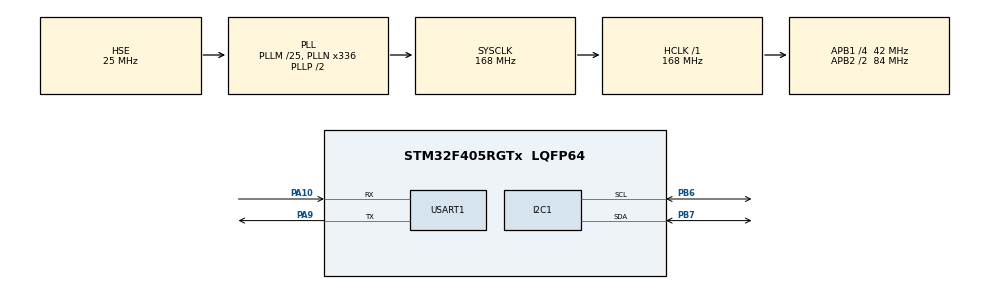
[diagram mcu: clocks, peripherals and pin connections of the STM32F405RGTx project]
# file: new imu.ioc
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FREERTOS.Tasks01=defaultTask,24,128,StartDefaultTask,Default,NULL,Dynamic,NULL,NULL;myTask01,8,128,StartTask01,Default,NULL,Dynamic,NULL,NULL
Mcu.Family=STM32F4
Mcu.Name=STM32F405RGTx
Mcu.Package=LQFP64
NVIC.PriorityGroup=NVIC_PRIORITYGROUP_4
NVIC.TIM7_IRQn=true\:15\:0\:false\:false\:true\:false\:false\:true\:true
NVIC.TimeBase=TIM7_IRQn
NVIC.TimeBaseIP=TIM7
PA10.Mode=Asynchronous
PA10.Signal=USART1_RX
PA13.Mode=Serial_Wire
PA13.Signal=SYS_JTMS-SWDIO
PA14.Mode=Serial_Wire
PA14.Signal=SYS_JTCK-SWCLK
PA9.Mode=Asynchronous
PA9.Signal=USART1_TX
PB6.Mode=I2C
PB6.Signal=I2C1_SCL
PB7.Mode=I2C
PB7.Signal=I2C1_SDA
PC14-OSC32_IN.Mode=LSE-External-Oscillator
PC14-OSC32_IN.Signal=RCC_OSC32_IN
PC15-OSC32_OUT.Mode=LSE-External-Oscillator
PC15-OSC32_OUT.Signal=RCC_OSC32_OUT
PH0-OSC_IN.Mode=HSE-External-Oscillator
PH0-OSC_IN.Signal=RCC_OSC_IN
PH1-OSC_OUT.Mode=HSE-External-Oscillator
PH1-OSC_OUT.Signal=RCC_OSC_OUT
ProjectManager.HeapSize=0x200
ProjectManager.StackSize=0x400
ProjectManager.TargetToolchain=MDK-ARM V5.32
RCC.48MHZClocksFreq_Value=84000000
RCC.AHBFreq_Value=168000000
RCC.APB1CLKDivider=RCC_HCLK_DIV4
RCC.APB1Freq_Value=42000000
RCC.APB1TimFreq_Value=84000000
RCC.APB2CLKDivider=RCC_HCLK_DIV2
RCC.APB2Freq_Value=84000000
RCC.APB2TimFreq_Value=168000000
RCC.CortexFreq_Value=168000000
RCC.HCLKFreq_Value=168000000
RCC.HSE_VALUE=25000000
RCC.HSI_VALUE=16000000
RCC.PLLM=25
RCC.PLLN=336
RCC.PLLSourceVirtual=RCC_PLLSOURCE_HSE
RCC.SYSCLKFreq_VALUE=168000000
RCC.SYSCLKSource=RCC_SYSCLKSOURCE_PLLCLK
RCC.VCOOutputFreq_Value=336000000
USART1.VirtualMode=VM_ASYNC
VP_FREERTOS_VS_CMSIS_V2.Mode=CMSIS_V2
VP_SYS_VS_tim7.Mode=TIM7
board=custom

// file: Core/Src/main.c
/* USER CODE BEGIN Header */
/**
  ******************************************************************************
  * @file           : main.c
  * @brief          : Main program body
  ******************************************************************************
  * @attention
  *
  * Copyright (c) 2024 STMicroelectronics.
  * All rights reserved.
  *
  * This software is licensed under terms that can be found in the LICENSE file
  * in the root directory of this software component.
  * If no LICENSE file comes with this software, it is provided AS-IS.
  *
  ******************************************************************************
  */
/* USER CODE END Header */
#include "main.h"
#include "cmsis_os.h"
#include "i2c.h"
#include "usart.h"
#include "gpio.h"

/* USER CODE BEGIN Includes */
#include "MPU6050.h"

/* USER CODE END Includes */

void SystemClock_Config(void);
void MX_FREERTOS_Init(void);

int main(void)
{

  /* MCU Configuration--------------------------------------------------------*/

  /* Reset of all peripherals, Initializes the Flash interface and the Systick. */
  HAL_Init();

  /* Configure the system clock */
  SystemClock_Config();

  /* Initialize all configured peripherals */
  MX_GPIO_Init();
  MX_I2C1_Init();
  MX_USART1_UART_Init();

  /* Init scheduler */
  osKernelInitialize();

  /* Call init function for freertos objects (in cmsis_os2.c) */
  MX_FREERTOS_Init();

  /* Start scheduler */
  osKernelStart();

  /* We should never get here as control is now taken by the scheduler */

  /* Infinite loop */
  while (1)
  {

  }
}

void SystemClock_Config(void)
{
  RCC_OscInitTypeDef RCC_OscInitStruct = {0};
  RCC_ClkInitTypeDef RCC_ClkInitStruct = {0};

  /** Configure the main internal regulator output voltage
  */
  __HAL_RCC_PWR_CLK_ENABLE();
  __HAL_PWR_VOLTAGESCALING_CONFIG(PWR_REGULATOR_VOLTAGE_SCALE1);

  /** Initializes the RCC Oscillators according to the specified parameters
  * in the RCC_OscInitTypeDef structure.
  */
  RCC_OscInitStruct.OscillatorType = RCC_OSCILLATORTYPE_HSE;
  RCC_OscInitStruct.HSEState = RCC_HSE_ON;
  RCC_OscInitStruct.PLL.PLLState = RCC_PLL_ON;
  RCC_OscInitStruct.PLL.PLLSource = RCC_PLLSOURCE_HSE;
  RCC_OscInitStruct.PLL.PLLM = 25;
  RCC_OscInitStruct.PLL.PLLN = 336;
  RCC_OscInitStruct.PLL.PLLP = RCC_PLLP_DIV2;
  RCC_OscInitStruct.PLL.PLLQ = 4;
  if (HAL_RCC_OscConfig(&RCC_OscInitStruct) != HAL_OK)
  {
    Error_Handler();
  }

  /** Initializes the CPU, AHB and APB buses clocks
  */
  RCC_ClkInitStruct.ClockType = RCC_CLOCKTYPE_HCLK|RCC_CLOCKTYPE_SYSCLK
                              |RCC_CLOCKTYPE_PCLK1|RCC_CLOCKTYPE_PCLK2;
  RCC_ClkInitStruct.SYSCLKSource = RCC_SYSCLKSOURCE_PLLCLK;
  RCC_ClkInitStruct.AHBCLKDivider = RCC_SYSCLK_DIV1;
  RCC_ClkInitStruct.APB1CLKDivider = RCC_HCLK_DIV4;
  RCC_ClkInitStruct.APB2CLKDivider = RCC_HCLK_DIV2;

  if (HAL_RCC_ClockConfig(&RCC_ClkInitStruct, FLASH_LATENCY_5) != HAL_OK)
  {
    Error_Handler();
  }
}

void HAL_TIM_PeriodElapsedCallback(TIM_HandleTypeDef *htim)
{
  if (htim->Instance == TIM7) {
    HAL_IncTick();
  }
}

void Error_Handler(void)
{
  __disable_irq();
  while (1)
  {
  }
}

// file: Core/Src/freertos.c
/* USER CODE BEGIN Header */
/**
  ******************************************************************************
  * File Name          : freertos.c
  * Description        : Code for freertos applications
  ******************************************************************************
  * @attention
  *
  * Copyright (c) 2024 STMicroelectronics.
  * All rights reserved.
  *
  * This software is licensed under terms that can be found in the LICENSE file
  * in the root directory of this software component.
  * If no LICENSE file comes with this software, it is provided AS-IS.
  *
  ******************************************************************************
  */
/* USER CODE END Header */

#include "FreeRTOS.h"
#include "task.h"
#include "main.h"
#include "cmsis_os.h"

/* USER CODE BEGIN Includes */
#include "usart.h"
#include <stdio.h>
#include "MPU6050.h"

/* USER CODE END Includes */

/* Definitions for defaultTask */
osThreadId_t defaultTaskHandle;
const osThreadAttr_t defaultTask_attributes = {
  .name = "defaultTask",
  .stack_size = 128 * 4,
  .priority = (osPriority_t) osPriorityNormal,
};
/* Definitions for myTask01 */
osThreadId_t myTask01Handle;
const osThreadAttr_t myTask01_attributes = {
  .name = "myTask01",
  .stack_size = 128 * 4,
  .priority = (osPriority_t) osPriorityLow,
};

void StartDefaultTask(void *argument);
void StartTask01(void *argument);

void MX_FREERTOS_Init(void); /* (MISRA C 2004 rule 8.1) */

void MX_FREERTOS_Init(void) {

  /* Create the thread(s) */
  /* creation of defaultTask */
  defaultTaskHandle = osThreadNew(StartDefaultTask, NULL, &defaultTask_attributes);

  /* creation of myTask01 */
  myTask01Handle = osThreadNew(StartTask01, NULL, &myTask01_attributes);

}

void StartDefaultTask(void *argument)
{
  /* USER CODE BEGIN StartDefaultTask */
  /* Infinite loop */
  for(;;)
  {
    vTaskDelete(NULL);
  }
  /* USER CODE END StartDefaultTask */
}

    float pitch;
    float roll;
    float yaw;
void StartTask01(void *argument)
{
  /* USER CODE BEGIN StartTask01 */
    int res=1;

    int16_t gx,gy,gz,ax,ay,az;
    while(res)
    {
        res = MPU6050_DMP_Init();
        printf(" ");
        printf("InitNG:");
        printf("%d",res);
        vTaskDelay(1000);
    }
    printf(" ");
    printf("InitOK\n");
  /* Infinite loop */
  for(;;)
  {
      if(MPU6050_DMP_Get_Data(&pitch, &roll, &yaw,&gx,&gy,&gz,&ax,&ay,&az))
    {
        printf("ax:%d\n", ax);
        printf("ay:%d\n", ay);
        printf("az:%d\n", az);
        printf("gx:%d\n", gx);
        printf("gy:%d\n", gy);
        printf("gz:%d\n\n", gz);
    }

    vTaskDelay(1);
  }
  /* USER CODE END StartTask01 */
}
